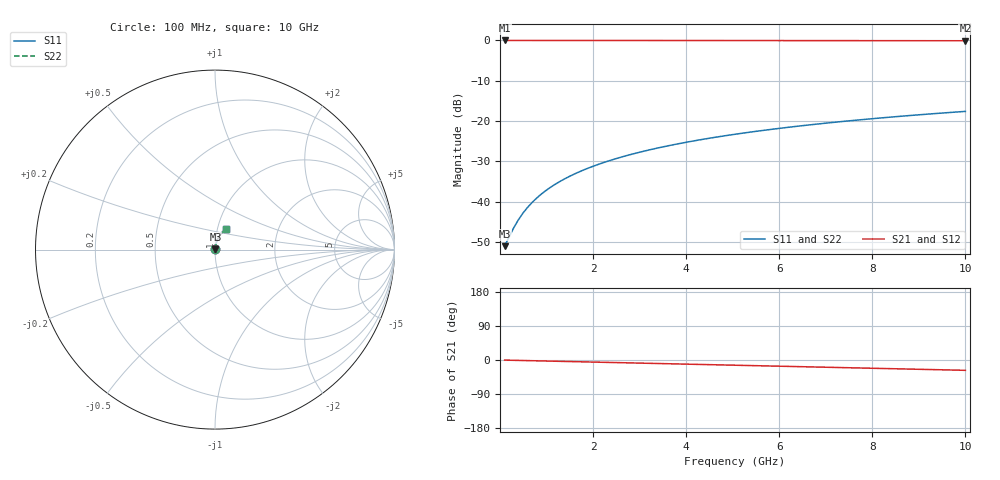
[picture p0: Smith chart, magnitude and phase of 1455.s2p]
# Hz S RI R 50.00
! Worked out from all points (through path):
!   100 points, 100 MHz to 10 GHz, reference 50 ohm
!   highest |S21| = -0.02 dB at 100 MHz (marker M1); lowest = -0.1 dB at 10 GHz (marker M2)
!   group delay of S21, straight-line fit = 7.57 ps
!   lowest |S11| = -51.0 dB at 100 MHz (marker M3), VSWR 1.01, Z = 50.2 + j0.137 ohm
!   |S11| at or under -10 dB: start of sweep to end of sweep
!   |S22| runs from -51.0 to -17.6 dB; largest |S21 - S12| = 0
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1e8  0.00247 0.00136  0.9975 -0.00475  0.9975 -0.00475  0.00247 0.00136
3e8  0.00255 0.00409  0.9974 -0.0142  0.9974 -0.0142  0.00255 0.00409
4e8  0.0026 0.00545  0.9973 -0.019  0.9973 -0.019  0.0026 0.00545
5e8  0.00267 0.00681  0.9972 -0.0237  0.9972 -0.0237  0.00267 0.00681
6e8  0.00275 0.00817  0.997 -0.0285  0.997 -0.0285  0.00275 0.00817
7e8  0.00284 0.00953  0.9969 -0.0332  0.9969 -0.0332  0.00284 0.00953
8e8  0.00294 0.0109  0.9967 -0.038  0.9967 -0.038  0.00294 0.0109
9e8  0.00305 0.0122  0.9965 -0.0427  0.9965 -0.0427  0.00305 0.0122
1e9  0.00318 0.0136  0.9962 -0.0474  0.9962 -0.0474  0.00318 0.0136
1.2e9  0.00347 0.0163  0.9957 -0.0569  0.9957 -0.0569  0.00347 0.0163
1.5e9  0.00401 0.0204  0.9947 -0.0711  0.9947 -0.0711  0.00401 0.0204
1.8e9  0.00465 0.0244  0.9934 -0.0853  0.9934 -0.0853  0.00465 0.0244
2.1e9  0.00541 0.0284  0.992 -0.0995  0.992 -0.0995  0.00541 0.0284
2.5e9  0.00661 0.0337  0.9897 -0.1183  0.9897 -0.1183  0.00661 0.0337
2.9e9  0.008 0.039  0.9871 -0.1371  0.9871 -0.1371  0.008 0.039
3.4e9  0.01 0.0455  0.9832 -0.1605  0.9832 -0.1605  0.01 0.0455
4.2e9  0.0139 0.0556  0.9758 -0.1977  0.9758 -0.1977  0.0139 0.0556
5.1e9  0.0191 0.0667  0.9657 -0.2391  0.9657 -0.2391  0.0191 0.0667
5.9e9  0.0246 0.076  0.9551 -0.2754  0.9551 -0.2754  0.0246 0.076
6.7e9  0.0307 0.085  0.9431 -0.3112  0.9431 -0.3112  0.0307 0.085
8.4e9  0.0459 0.1023  0.9128 -0.3854  0.9128 -0.3854  0.0459 0.1023
1e10  0.0626 0.1161  0.8788 -0.4523  0.8788 -0.4523  0.0626 0.1161
